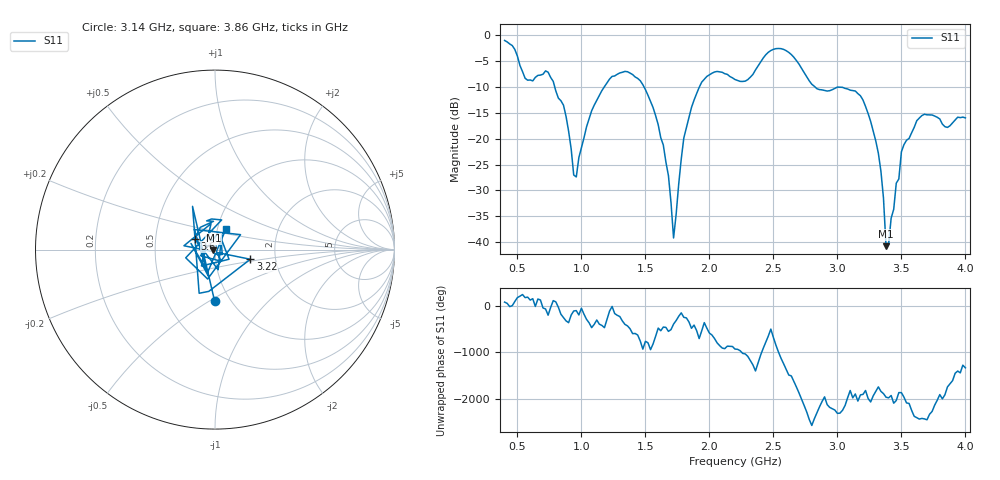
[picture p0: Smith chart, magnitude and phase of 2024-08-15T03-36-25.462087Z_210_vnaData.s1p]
!Created with skrf (http://scikit-rf.org).
# Hz S RI R 50.0
!freq ReS11 ImS11
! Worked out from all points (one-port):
!   181 points, 400 MHz to 4 GHz, reference 50 ohm
!   lowest |S11| = -40.8 dB at 3.38 GHz (marker M1), VSWR 1.02, Z = 49.1 - j0.318 ohm
!   |S11| at or under -10 dB: 791.2 MHz to 1.18 GHz (388.3 MHz wide, 39.4 % of centre); 1.488 GHz to 1.922 GHz (434.1 MHz wide, 25.5 % of centre); 2.823 GHz to end of sweep
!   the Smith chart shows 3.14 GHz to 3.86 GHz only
!   S11 on the Smith chart (normalised r, x): 3.14 GHz: 0.84, -0.53; 3.22 GHz: 1.48, -0.17; 3.6 GHz: 0.79, +0.10; 3.86 GHz: 1.10, +0.25
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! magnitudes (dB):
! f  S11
! 400 MHz  -1.1
! 580 MHz  -8.7
! 740 MHz  -7.2
! 860 MHz  -13.6
! 960 MHz  -27.4
! 1.08 GHz  -14.6
! 1.3 GHz  -7.3
! 1.56 GHz  -14.0
! 1.68 GHz  -27.1
! 1.72 GHz  -39.2
! 1.76 GHz  -28.8
! 1.8 GHz  -19.9
! 1.94 GHz  -9.1
! 2.2 GHz  -8.6
! 2.5 GHz  -2.8
! 2.66 GHz  -4.3
! 2.84 GHz  -10.4
! 3.1 GHz  -10.7
! 3.14 GHz  -10.8
! 3.22 GHz  -13.8
! 3.32 GHz  -22.8
! 3.36 GHz  -31.5
! 3.38 GHz  -40.8
! 3.5 GHz  -22.6
! 3.56 GHz  -20.0
! 3.6 GHz  -17.8
! 3.86 GHz  -17.8
! 4 GHz  -16.0
